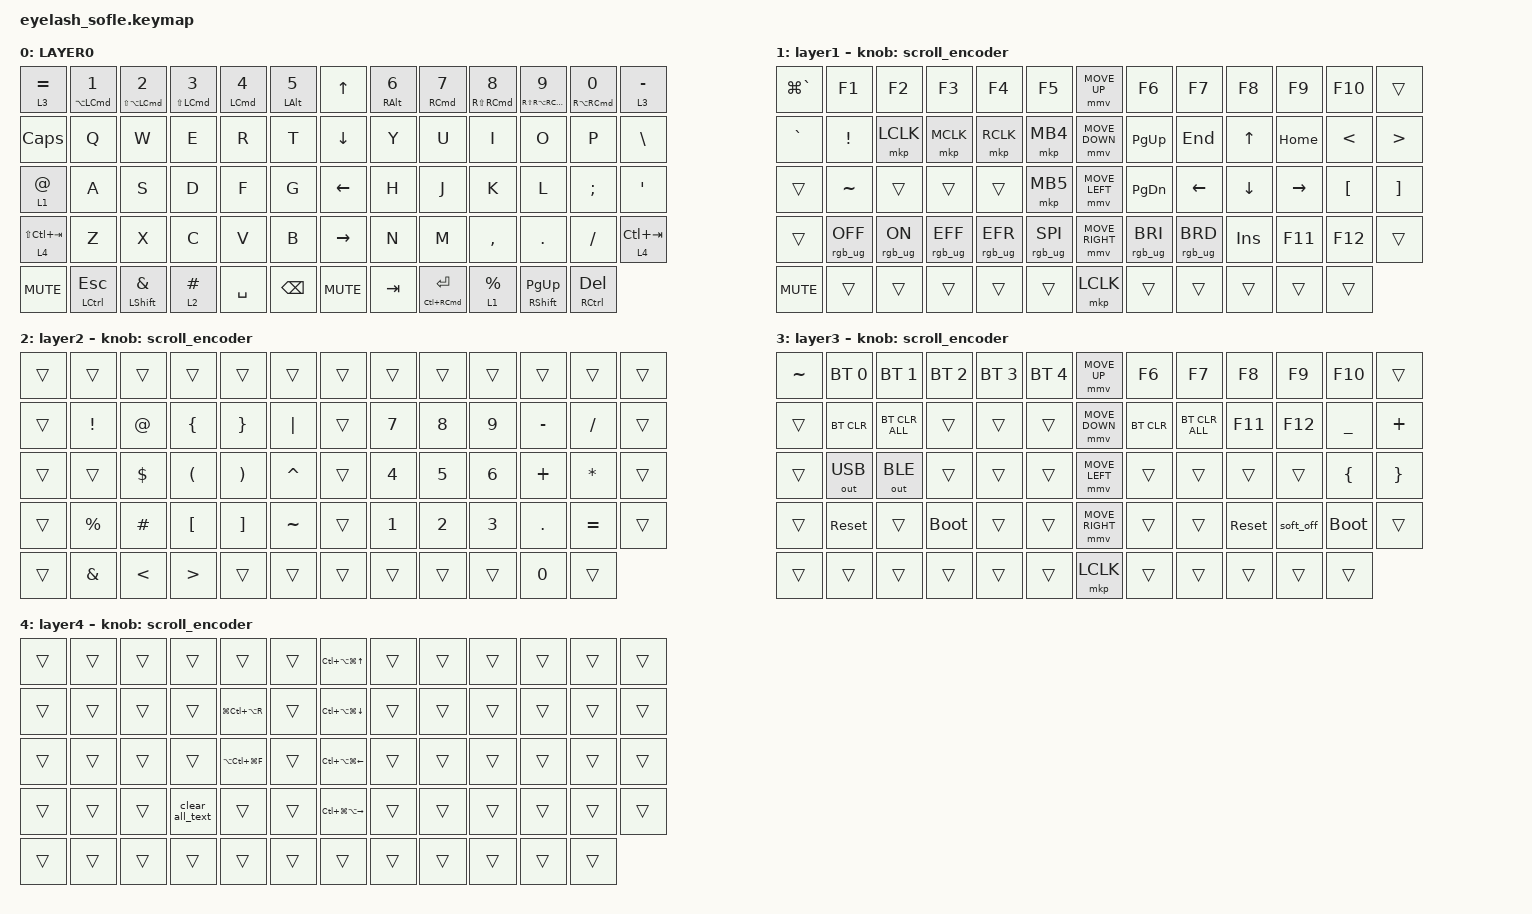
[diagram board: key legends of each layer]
#define ZMK_POINTING_DEFAULT_MOVE_VAL 1200  // 600
#define ZMK_POINTING_DEFAULT_SCRL_VAL 25   // 10

#include <input/processors.dtsi>
#include <zephyr/dt-bindings/input/input-event-codes.h>
#include <behaviors.dtsi>
#include <dt-bindings/zmk/bt.h>
#include <dt-bindings/zmk/keys.h>
#include <dt-bindings/zmk/outputs.h>
#include <dt-bindings/zmk/pointing.h>
#include <dt-bindings/zmk/rgb.h>

&mmv_input_listener { input-processors = <&zip_xy_scaler 2 1>; };

&msc_input_listener { input-processors = <&zip_scroll_scaler 2 1>; };

&msc {
    acceleration-exponent = <1>;      // 0
    time-to-max-speed-ms = <100>;       // 300
    delay-ms = <0>;                   // 0
};

&mmv {
    time-to-max-speed-ms = <500>;
    acceleration-exponent = <1>;
    trigger-period-ms = <16>;
};

&soft_off { hold-time-ms = <2000>; };

/ {
    scroll_encoder: scroll_encoder {
        compatible = "zmk,behavior-sensor-rotate";
        #sensor-binding-cells = <0>;
        bindings = <&msc SCRL_DOWN>, <&msc SCRL_UP>;

        tap-ms = <100>;
    };

    behaviors {
    };

    combos {
        compatible = "zmk,combos";

        softoff {
            bindings = <&soft_off>;
            key-positions = <14 28 40>;
        };
    };

    macros {
        SHIFT_MCLK: SHIFT_MCLK {
            compatible = "zmk,behavior-macro";
            #binding-cells = <0>;
            bindings =
                <&macro_press>,
                <&kp LEFT_SHIFT>,
                <&macro_press>,
                <&mkp MB3>,
                <&macro_pause_for_release>,
                <&macro_release>,
                <&kp LEFT_SHIFT &mkp MB3>;

            label = "SHIFT_MCLK";
        };

        clear_all_text: clear_all_text {
            compatible = "zmk,behavior-macro";
            #binding-cells = <0>;
            bindings = <&kp LG(A) &kp BACKSPACE>;
            label = "CLEAR_ALL_TEXT";
        };
    };

    keymap {
        compatible = "zmk,keymap";

        layer0 {
            bindings = <
&lt 3 EQUAL        &mt LA(LEFT_COMMAND) NUMBER_1  &mt LS(LA(LEFT_COMMAND)) NUMBER_2  &mt LS(LEFT_COMMAND) N3  &mt LEFT_COMMAND NUMBER_4  &mt LEFT_ALT NUMBER_5    &kp UP_ARROW     &mt RIGHT_ALT NUMBER_6  &mt RIGHT_COMMAND NUMBER_7   &mt RS(RIGHT_COMMAND) NUMBER_8  &mt RS(RA(RIGHT_COMMAND)) N9  &mt RA(RIGHT_COMMAND) N0  &lt 3 MINUS
&kp CAPSLOCK       &kp Q                          &kp W                              &kp E                    &kp R                      &kp T                    &kp DOWN_ARROW   &kp Y                   &kp U                        &kp I                           &kp O                         &kp P                     &kp BSLH
&lt 1 AT_SIGN      &kp A                          &kp S                              &kp D                    &kp F                      &kp G                    &kp LEFT_ARROW   &kp H                   &kp J                        &kp K                           &kp L                         &kp SEMI                  &kp APOS
&lt 4 LS(LC(TAB))  &kp Z                          &kp X                              &kp C                    &kp V                      &kp B                    &kp RIGHT_ARROW  &kp N                   &kp M                        &kp COMMA                       &kp DOT                       &kp FSLH                  &lt 4 LC(TAB)
&kp C_MUTE         &mt LEFT_CONTROL ESCAPE        &mt LEFT_SHIFT AMPERSAND           &lt 2 HASH               &kp SPACE                  &kp BACKSPACE            &kp C_MUTE       &kp TAB                 &mt LC(RIGHT_COMMAND) ENTER  &lt 1 PERCENT                   &mt RIGHT_SHIFT PAGE_UP       &mt RIGHT_CONTROL DELETE
            >;

            display-name = "LAYER0";
        };

        layer_1 {
            bindings = <
&kp LG(GRAVE)  &kp F1           &kp F2          &kp F3           &kp F4           &kp F5             &mmv MOVE_UP     &kp F6           &kp F7           &kp F8      &kp F9     &kp F10           &trans
&kp GRAVE      &kp EXCLAMATION  &mkp LCLK       &mkp MCLK        &mkp RCLK        &mkp MB4           &mmv MOVE_DOWN   &kp PG_UP        &kp END          &kp UP      &kp HOME   &kp LESS_THAN     &kp GREATER_THAN
&trans         &kp TILDE        &trans          &trans           &trans           &mkp MB5           &mmv MOVE_LEFT   &kp PG_DN        &kp LEFT         &kp DOWN    &kp RIGHT  &kp LEFT_BRACKET  &kp RIGHT_BRACKET
&trans         &rgb_ug RGB_OFF  &rgb_ug RGB_ON  &rgb_ug RGB_EFF  &rgb_ug RGB_EFR  &rgb_ug RGB_SPI    &mmv MOVE_RIGHT  &rgb_ug RGB_BRI  &rgb_ug RGB_BRD  &kp INSERT  &kp F11    &kp F12           &trans
&kp C_MUTE     &trans           &trans          &trans           &trans           &trans             &mkp LCLK        &trans           &trans           &trans      &trans     &trans
            >;

            display-name = "layer1";
            sensor-bindings = <&scroll_encoder>;
        };

        layer_2 {
            bindings = <
&trans  &trans           &trans         &trans                &trans                 &trans       &trans  &trans        &trans        &trans        &trans      &trans        &trans
&trans  &kp EXCLAMATION  &kp AT_SIGN    &kp LEFT_BRACE        &kp RIGHT_BRACE        &kp PIPE     &trans  &kp N7        &kp N8        &kp N9        &kp MINUS   &kp SLASH     &trans
&trans  &trans           &kp DOLLAR     &kp LEFT_PARENTHESIS  &kp RIGHT_PARENTHESIS  &kp CARET    &trans  &kp NUMBER_4  &kp N5        &kp NUMBER_6  &kp PLUS    &kp ASTERISK  &trans
&trans  &kp PERCENT      &kp HASH       &kp LEFT_BRACKET      &kp RIGHT_BRACKET      &kp TILDE    &trans  &kp NUMBER_1  &kp NUMBER_2  &kp NUMBER_3  &kp PERIOD  &kp EQUAL     &trans
&trans  &kp AMPERSAND    &kp LESS_THAN  &kp GREATER_THAN      &trans                 &trans       &trans  &trans        &trans        &trans        &kp N0      &trans
            >;

            display-name = "layer2";
            sensor-bindings = <&scroll_encoder>;
        };

        layer_3 {
            bindings = <
&kp TILDE  &bt BT_SEL 0  &bt BT_SEL 1    &bt BT_SEL 2  &bt BT_SEL 3  &bt BT_SEL 4    &mmv MOVE_UP     &kp F6      &kp F7          &kp F8      &kp F9     &kp F10      &trans
&trans     &bt BT_CLR    &bt BT_CLR_ALL  &trans        &trans        &trans          &mmv MOVE_DOWN   &bt BT_CLR  &bt BT_CLR_ALL  &kp F11     &kp F12    &kp UNDER    &kp PLUS
&trans     &out OUT_USB  &out OUT_BLE    &trans        &trans        &trans          &mmv MOVE_LEFT   &trans      &trans          &trans      &trans     &kp LBRC     &kp RBRC
&trans     &sys_reset    &trans          &bootloader   &trans        &trans          &mmv MOVE_RIGHT  &trans      &trans          &sys_reset  &soft_off  &bootloader  &trans
&trans     &trans        &trans          &trans        &trans        &trans          &mkp LCLK        &trans      &trans          &trans      &trans     &trans
            >;

            display-name = "layer3";
            sensor-bindings = <&scroll_encoder>;
        };

        layer_4 {
            bindings = <
&trans  &trans  &trans  &trans           &trans             &trans    &kp LC(LA(LG(UP_ARROW)))    &trans  &trans  &trans  &trans  &trans  &trans
&trans  &trans  &trans  &trans           &kp LG(LC(LA(R)))  &trans    &kp LC(LA(LG(DOWN)))        &trans  &trans  &trans  &trans  &trans  &trans
&trans  &trans  &trans  &trans           &kp LA(LC(LG(F)))  &trans    &kp LC(LA(LG(LEFT_ARROW)))  &trans  &trans  &trans  &trans  &trans  &trans
&trans  &trans  &trans  &clear_all_text  &trans             &trans    &kp LC(LG(LA(RIGHT)))       &trans  &trans  &trans  &trans  &trans  &trans
&trans  &trans  &trans  &trans           &trans             &trans    &trans                      &trans  &trans  &trans  &trans  &trans
            >;

            display-name = "layer4";
            sensor-bindings = <&scroll_encoder>;
        };
    };
};


